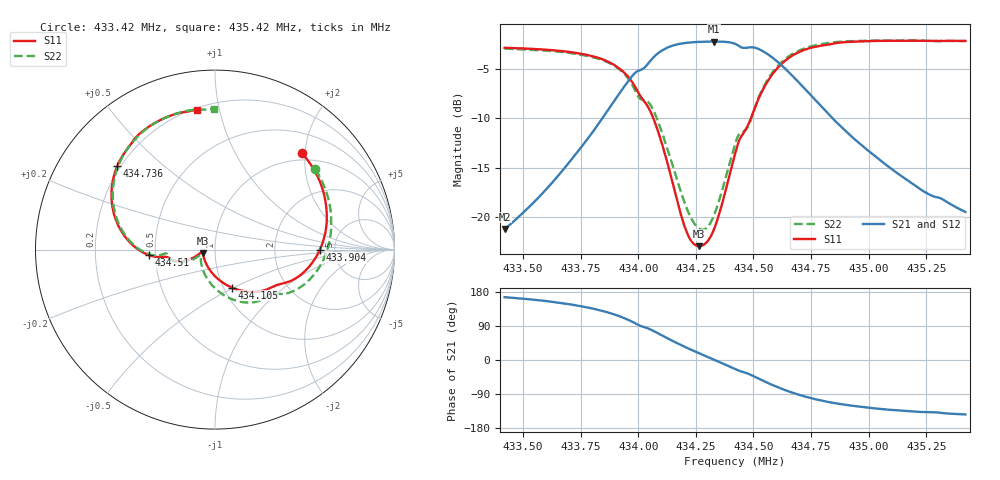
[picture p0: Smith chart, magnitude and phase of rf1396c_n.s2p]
!RF1396C Device 1 ENG1 fixture Narrow span
# HZ S RI R 50
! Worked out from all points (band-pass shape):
!   1601 points, 433.42 MHz to 435.42 MHz, reference 50 ohm
!   highest |S21| = -2.17 dB at 434.327 MHz (marker M1); lowest = -21.3 dB at 433.42 MHz (marker M2)
!   |S21| within 3 dB of the highest: 433.9985 MHz to 434.6481 MHz (649.6 kHz wide, 0.15 % of centre)
!   lowest |S11| = -23.0 dB at 434.264 MHz (marker M3), VSWR 1.15, Z = 43.6 - j1.67 ohm
!   |S11| at or under -10 dB: 434.0657 MHz to 434.4886 MHz (422.9 kHz wide, 0.0974 % of centre)
!   |S22| runs from -21.3 to -2.1 dB; largest |S21 - S12| = 0.0083
!   S11 on the Smith chart (normalised r, x): 433.42 MHz: 0.85, +1.93; 433.904 MHz: 3.80, -0.02; 434.105 MHz: 1.09, -0.49; 434.51 MHz: 0.46, -0.03; 434.736 MHz: 0.19, +0.36; 435.42 MHz: 0.21, +0.86
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4.3342e8  0.483 0.539  -0.0839 0.0213  -0.0831 0.0205  0.5592 0.4471
4.336037e8  0.557 0.4351  -0.1264 0.0583  -0.1254 0.0565  0.6178 0.3274
4.337538e8  0.6134 0.2785  -0.1777 0.1412  -0.1772 0.1375  0.6474 0.1566
4.339037e8  0.5836 -0.00165  -0.1922 0.3513  -0.1943 0.3461  0.565 -0.1225
4.339713e8  0.4658 -0.1495  -0.1057 0.5046  -0.1103 0.4999  0.41 -0.2412
4.340388e8  0.2956 -0.2195  0.0594 0.59  0.052 0.5868  0.2753 -0.2712
4.340875e8  0.1428 -0.2275  0.2336 0.64  0.227 0.6412  0.1087 -0.2817
4.34105e8  0.0934 -0.2113  0.305 0.634  0.2991 0.636  0.0576 -0.2584
4.341513e8  -0.00256 -0.1456  0.4805 0.5675  0.4772 0.5708  -0.0342 -0.1759
4.342037e8  -0.0537 -0.0689  0.633 0.4311  0.6321 0.4344  -0.0743 -0.0887
4.342637e8  -0.0682 -0.019  0.7383 0.2378  0.7384 0.2408  -0.0791 -0.0362
4.343275e8  -0.083 -0.0204  0.779 0.0168  0.7799 0.0197  -0.093 -0.0384
4.3442e8  -0.1973 -0.0659  0.694 -0.3068  0.6973 -0.3053  -0.2236 -0.0656
4.344775e8  -0.2914 -0.0406  0.5853 -0.429  0.5903 -0.4278  -0.2875 -0.0252
4.3451e8  -0.3671 -0.0313  0.5051 -0.517  0.5107 -0.5184  -0.368 -0.0256
4.345588e8  -0.4803 0.0469  0.3407 -0.5831  0.3446 -0.5871  -0.488 0.064
4.346138e8  -0.5577 0.1813  0.1666 -0.5779  0.1689 -0.5823  -0.5592 0.213
4.347363e8  -0.5444 0.4658  -0.0639 -0.4266  -0.0642 -0.429  -0.5172 0.5134
4.347538e8  -0.5303 0.4961  -0.0804 -0.4024  -0.0807 -0.4042  -0.4996 0.5439
4.3489e8  -0.4109 0.6534  -0.129 -0.249  -0.1289 -0.2493  -0.3479 0.6972
4.350875e8  -0.2571 0.7427  -0.118 -0.1349  -0.1178 -0.1348  -0.1742 0.7686
4.3542e8  -0.1 0.7778  -0.0851 -0.0626  -0.0846 -0.0624  -0.00403 0.7834
